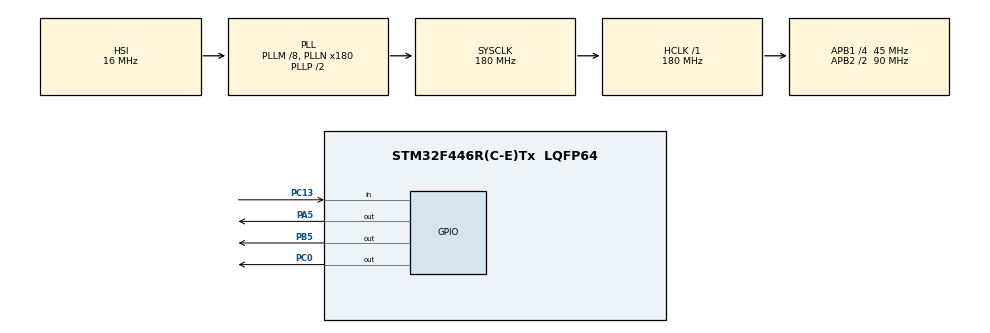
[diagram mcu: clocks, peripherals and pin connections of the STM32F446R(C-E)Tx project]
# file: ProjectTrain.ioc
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FREERTOS.BinarySemaphores01=xSemApproach,Dynamic,NULL,Available;xSemDepart,Dynamic,NULL,Available
FREERTOS.Tasks01=Gatecontrol,24,128,gatecontrol,Default,NULL,Dynamic,NULL,NULL;TrainDetect,40,128,Traindetect,Default,NULL,Dynamic,NULL,NULL;Warninglight,8,128,warninglight,Default,NULL,Dynamic,NULL,NULL;alarmHorn,8,128,alarmhorn,Default,NULL,Dynamic,NULL,NULL
FREERTOS.configUSE_NEWLIB_REENTRANT=1
Mcu.Family=STM32F4
Mcu.Name=STM32F446R(C-E)Tx
Mcu.Package=LQFP64
NVIC.PriorityGroup=NVIC_PRIORITYGROUP_4
NVIC.TIM6_DAC_IRQn=true\:15\:0\:false\:false\:true\:false\:false\:true\:true
NVIC.TimeBase=TIM6_DAC_IRQn
NVIC.TimeBaseIP=TIM6
PA5.Signal=GPIO_Output
PB5.Signal=GPIO_Output
PC0.Signal=GPIO_Output
PC13.Signal=GPIO_Input
ProjectManager.HeapSize=0x200
ProjectManager.StackSize=0x400
ProjectManager.TargetToolchain=STM32CubeIDE
RCC.AHBFreq_Value=180000000
RCC.APB1CLKDivider=RCC_HCLK_DIV4
RCC.APB1Freq_Value=45000000
RCC.APB1TimFreq_Value=90000000
RCC.APB2CLKDivider=RCC_HCLK_DIV2
RCC.APB2Freq_Value=90000000
RCC.APB2TimFreq_Value=180000000
RCC.CortexFreq_Value=180000000
RCC.HCLKFreq_Value=180000000
RCC.PLLM=8
RCC.PLLN=180
RCC.SYSCLKFreq_VALUE=180000000
RCC.SYSCLKSource=RCC_SYSCLKSOURCE_PLLCLK
RCC.USBFreq_Value=180000000
RCC.VCOOutputFreq_Value=360000000
VP_FREERTOS_VS_CMSIS_V2.Mode=CMSIS_V2
VP_SYS_VS_tim6.Mode=TIM6
board=custom

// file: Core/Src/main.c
/* USER CODE BEGIN Header */
/**
  ******************************************************************************
  * @file           : main.c
  * @brief          : Railway Crossing Gate Controller — Complete Implementation
  ******************************************************************************
  * @attention
  *
  * Copyright (c) 2026 STMicroelectronics.
  * All rights reserved.
  *
  * This software is licensed under terms that can be found in the LICENSE file
  * in the root directory of this software component.
  * If no LICENSE file comes with this software, it is provided AS-IS.
  *
  ******************************************************************************
  */
/* USER CODE END Header */

#include "main.h"
#include "cmsis_os.h"
#include <stdio.h>

/* ── Thread handles & attributes ─────────────────────────────────────────── */

/* Definitions for Gatecontrol */
osThreadId_t GatecontrolHandle;
const osThreadAttr_t Gatecontrol_attributes = {
  .name       = "Gatecontrol",
  .stack_size = 128 * 4,
  .priority   = (osPriority_t) osPriorityNormal,
};

/* Definitions for TrainDetect */
osThreadId_t TrainDetectHandle;
const osThreadAttr_t TrainDetect_attributes = {
  .name       = "TrainDetect",
  .stack_size = 128 * 4,
  .priority   = (osPriority_t) osPriorityHigh,
};

/* Definitions for Warninglight */
osThreadId_t WarninglightHandle;
const osThreadAttr_t Warninglight_attributes = {
  .name       = "Warninglight",
  .stack_size = 128 * 4,
  .priority   = (osPriority_t) osPriorityLow,
};

/* Definitions for alarmHorn */
osThreadId_t alarmHornHandle;
const osThreadAttr_t alarmHorn_attributes = {
  .name       = "alarmHorn",
  .stack_size = 128 * 4,
  .priority   = (osPriority_t) osPriorityLow,
};

/* ── Semaphore handles & attributes ──────────────────────────────────────── */

/*
 * FIX #1 — initialCount = 0 (fail-safe boot state).
 *   Starting with initialCount = 1 lets actuator tasks run immediately at
 *   power-on before any train is detected — unsafe. With 0 every actuator
 *   task blocks right away; the crossing stays safe until the sensor fires.
 *
 * FIX #2 — maxCount = 3 (one token per actuator task).
 *   Three tasks (GateControl, WarningLight, AlarmHorn) all block on the same
 *   semaphore. TrainDetect must release it 3 times to wake all three.
 *   maxCount = 1 would only ever unblock one task per train event.
 */

/* Definitions for xSemApproach */
osSemaphoreId_t xSemApproachHandle;
const osSemaphoreAttr_t xSemApproach_attributes = {
  .name = "xSemApproach"
};

/* Definitions for xSemDepart */
osSemaphoreId_t xSemDepartHandle;
const osSemaphoreAttr_t xSemDepart_attributes = {
  .name = "xSemDepart"
};

/* USER CODE BEGIN PV */
/*
 * FIX #4 — No extern re-declarations here.
 *   xSemApproachHandle and xSemDepartHandle are already defined as globals
 *   in this translation unit. Redundant extern declarations removed.
 */
/* USER CODE END PV */

void SystemClock_Config(void);
static void MX_GPIO_Init(void);
void gatecontrol(void *argument);
void Traindetect(void *argument);
void warninglight(void *argument);
void alarmhorn(void *argument);

/* USER CODE BEGIN 0 */

/**
 * @brief  Retargets printf() to the SWV ITM Data Console (port 0).
 *         Enables printf() output visible in STM32CubeIDE during debug.
 */
int _write(int file, char *ptr, int len)
{
  for (int i = 0; i < len; i++) {
    ITM_SendChar(*ptr++);
  }
  return len;
}

/* USER CODE END 0 */

/* ── main() ─────────────────────────────────────────────────────────────── */

int main(void)
{

  /* Reset of all peripherals, Initializes the Flash interface and Systick */
  HAL_Init();

  /* Configure the system clock */
  SystemClock_Config();

  /* Initialize all configured peripherals */
  MX_GPIO_Init();

  /* Init scheduler */
  osKernelInitialize();

  /* ── Create semaphores ──────────────────────────────────────────────────
   *
   * osSemaphoreNew(maxCount, initialCount, attr)
   *
   *   maxCount    = 3  → holds one token per actuator task; TrainDetect
   *                       releases it 3× so all three tasks wake together.
   *   initialCount = 0 → semaphore starts empty → every actuator blocks
   *                       immediately (fail-safe: crossing safe at boot).
   */

  /* creation of xSemApproach */
  xSemApproachHandle = osSemaphoreNew(3, 0, &xSemApproach_attributes);

  /* creation of xSemDepart */
  xSemDepartHandle   = osSemaphoreNew(3, 0, &xSemDepart_attributes);

  /* ── Create threads ─────────────────────────────────────────────────── */

  /* creation of Gatecontrol */
  GatecontrolHandle  = osThreadNew(gatecontrol, NULL, &Gatecontrol_attributes);

  /* creation of TrainDetect */
  TrainDetectHandle  = osThreadNew(Traindetect, NULL, &TrainDetect_attributes);

  /* creation of Warninglight */
  WarninglightHandle = osThreadNew(warninglight, NULL, &Warninglight_attributes);

  /* creation of alarmHorn */
  alarmHornHandle    = osThreadNew(alarmhorn, NULL, &alarmHorn_attributes);

  /* Start scheduler — control never returns from here */
  osKernelStart();

  /* Infinite loop (unreachable) */
  while (1)
  {
  }
}

/* ── SystemClock_Config ──────────────────────────────────────────────────── */

void SystemClock_Config(void)
{
  RCC_OscInitTypeDef RCC_OscInitStruct = {0};
  RCC_ClkInitTypeDef RCC_ClkInitStruct = {0};

  /* Configure the main internal regulator output voltage */
  __HAL_RCC_PWR_CLK_ENABLE();
  __HAL_PWR_VOLTAGESCALING_CONFIG(PWR_REGULATOR_VOLTAGE_SCALE1);

  /* Initialise RCC Oscillators */
  RCC_OscInitStruct.OscillatorType      = RCC_OSCILLATORTYPE_HSI;
  RCC_OscInitStruct.HSIState            = RCC_HSI_ON;
  RCC_OscInitStruct.HSICalibrationValue = RCC_HSICALIBRATION_DEFAULT;
  RCC_OscInitStruct.PLL.PLLState        = RCC_PLL_ON;
  RCC_OscInitStruct.PLL.PLLSource       = RCC_PLLSOURCE_HSI;
  RCC_OscInitStruct.PLL.PLLM            = 8;
  RCC_OscInitStruct.PLL.PLLN            = 180;
  RCC_OscInitStruct.PLL.PLLP            = RCC_PLLP_DIV2;
  RCC_OscInitStruct.PLL.PLLQ            = 2;
  RCC_OscInitStruct.PLL.PLLR            = 2;
  if (HAL_RCC_OscConfig(&RCC_OscInitStruct) != HAL_OK)
  {
    Error_Handler();
  }

  /* Activate Over-Drive mode to reach 180 MHz */
  if (HAL_PWREx_EnableOverDrive() != HAL_OK)
  {
    Error_Handler();
  }

  /* Initialise CPU, AHB and APB bus clocks */
  RCC_ClkInitStruct.ClockType      = RCC_CLOCKTYPE_HCLK  | RCC_CLOCKTYPE_SYSCLK
                                   | RCC_CLOCKTYPE_PCLK1 | RCC_CLOCKTYPE_PCLK2;
  RCC_ClkInitStruct.SYSCLKSource   = RCC_SYSCLKSOURCE_PLLCLK;
  RCC_ClkInitStruct.AHBCLKDivider  = RCC_SYSCLK_DIV1;
  RCC_ClkInitStruct.APB1CLKDivider = RCC_HCLK_DIV4;
  RCC_ClkInitStruct.APB2CLKDivider = RCC_HCLK_DIV2;
  if (HAL_RCC_ClockConfig(&RCC_ClkInitStruct, FLASH_LATENCY_5) != HAL_OK)
  {
    Error_Handler();
  }
}

/* ── MX_GPIO_Init ────────────────────────────────────────────────────────── */

/**
  * @brief  GPIO Initialization
  *
  *   PC13 — INPUT  : Train sensor (on-board user button, active LOW)
  *   PA5  — OUTPUT : Gate barrier indicator LED (HIGH = gate closed)
  *   PB5  — OUTPUT : Warning / crossing light LED
  *   PC0  — OUTPUT : Alarm buzzer (FIX #3 — was missing in original)
  *
  * @retval None
  */
static void MX_GPIO_Init(void)
{
  GPIO_InitTypeDef GPIO_InitStruct = {0};

  /* USER CODE BEGIN MX_GPIO_Init_1 */
  /*
   * FIX #3 — PC0 (buzzer) was never initialised in the original skeleton.
   *   alarmhorn() calls HAL_GPIO_WritePin(GPIOC, GPIO_PIN_0, ...) but
   *   without GPIO init that call is a no-op and the buzzer never sounds.
   *   PC0 is now configured as push-pull output below.
   */
  /* USER CODE END MX_GPIO_Init_1 */

  /* Enable GPIO port clocks */
  __HAL_RCC_GPIOC_CLK_ENABLE();
  __HAL_RCC_GPIOA_CLK_ENABLE();
  __HAL_RCC_GPIOB_CLK_ENABLE();

  /* Set initial output levels — everything OFF at boot (fail-safe) */
  HAL_GPIO_WritePin(GPIOA, GPIO_PIN_5, GPIO_PIN_RESET);  /* Gate LED   : OFF (gate open)  */
  HAL_GPIO_WritePin(GPIOB, GPIO_PIN_5, GPIO_PIN_RESET);  /* Warning LED: OFF              */
  HAL_GPIO_WritePin(GPIOC, GPIO_PIN_0, GPIO_PIN_RESET);  /* Buzzer     : OFF (silent)     */

  /* PC13 — Train sensor input (on-board user button, active LOW) */
  GPIO_InitStruct.Pin  = GPIO_PIN_13;
  GPIO_InitStruct.Mode = GPIO_MODE_INPUT;
  GPIO_InitStruct.Pull = GPIO_NOPULL;  /* External pull-up on Nucleo board */
  HAL_GPIO_Init(GPIOC, &GPIO_InitStruct);

  /* PA5 — Gate barrier indicator LED (active HIGH = gate closed) */
  GPIO_InitStruct.Pin   = GPIO_PIN_5;
  GPIO_InitStruct.Mode  = GPIO_MODE_OUTPUT_PP;
  GPIO_InitStruct.Pull  = GPIO_NOPULL;
  GPIO_InitStruct.Speed = GPIO_SPEED_FREQ_LOW;
  HAL_GPIO_Init(GPIOA, &GPIO_InitStruct);

  /* PB5 — Warning / crossing light LED */
  GPIO_InitStruct.Pin   = GPIO_PIN_5;
  GPIO_InitStruct.Mode  = GPIO_MODE_OUTPUT_PP;
  GPIO_InitStruct.Pull  = GPIO_NOPULL;
  GPIO_InitStruct.Speed = GPIO_SPEED_FREQ_LOW;
  HAL_GPIO_Init(GPIOB, &GPIO_InitStruct);

  /* USER CODE BEGIN MX_GPIO_Init_2 */

  /* PC0 — Alarm buzzer output (FIX #3) */
  GPIO_InitStruct.Pin   = GPIO_PIN_0;
  GPIO_InitStruct.Mode  = GPIO_MODE_OUTPUT_PP;
  GPIO_InitStruct.Pull  = GPIO_NOPULL;
  GPIO_InitStruct.Speed = GPIO_SPEED_FREQ_LOW;
  HAL_GPIO_Init(GPIOC, &GPIO_InitStruct);

  /* USER CODE END MX_GPIO_Init_2 */
}

/* ── Task implementations ────────────────────────────────────────────────── */

/* USER CODE BEGIN Header_gatecontrol */
/**
  * @brief  GateControl task — controls the gate barrier (PA5).
  *
  *  Flow:
  *    1. Block on xSemApproach  (released by TrainDetect × 3 on approach)
  *    2. Drive PA5 HIGH         → gate CLOSES
  *    3. Block on xSemDepart    (released by TrainDetect × 3 on departure)
  *    4. Drive PA5 LOW          → gate OPENS
  *    5. Repeat forever
  *
  * @param  argument  Not used
  * @retval None
  */
/* USER CODE END Header_gatecontrol */
void gatecontrol(void *argument)
{
  /* USER CODE BEGIN 5 */
  for (;;)
  {
    /* ── Wait for train approaching ─────────────────────────────────────── */
    osSemaphoreAcquire(xSemApproachHandle, osWaitForever);

    /* Close the gate barrier */
    HAL_GPIO_WritePin(GPIOA, GPIO_PIN_5, GPIO_PIN_SET);
    printf("[GateControl] CLOSING gate barrier\n");
    osDelay(100);  /* Brief settle delay */

    /* ── Wait for train departed ────────────────────────────────────────── */
    osSemaphoreAcquire(xSemDepartHandle, osWaitForever);

    /* Open the gate barrier */
    HAL_GPIO_WritePin(GPIOA, GPIO_PIN_5, GPIO_PIN_RESET);
    printf("[GateControl] RAISING gate barrier\n");
  }
  /* USER CODE END 5 */
}

/* USER CODE BEGIN Header_Traindetect */
/**
  * @brief  TrainDetect task — highest-priority sensor polling task.
  *
  *  Polls PC13 (IR sensor, simulated by on-board user button) every 50 ms.
  *  Uses edge detection via trainPresent flag to fire only once per event.
  *
  *  Rising edge  (button pressed  = train approaching):
  *    → Release xSemApproach THREE times so GateControl, WarningLight,
  *      and AlarmHorn all unblock simultaneously.
  *      (FIX #2: single release only woke one task; all three need a token)
  *
  *  Falling edge (button released = train departed):
  *    → Release xSemDepart THREE times for the same reason.
  *
  * @param  argument  Not used
  * @retval None
  */
/* USER CODE END Header_Traindetect */
void Traindetect(void *argument)
{
  /* USER CODE BEGIN Traindetect */
  uint8_t trainPresent = 0;  /* Edge-detection flag: 0=no train, 1=train */

  for (;;)
  {
    /*
     * PC13 is active LOW:
     *   GPIO_PIN_RESET (0) = button pressed  = train detected
     *   GPIO_PIN_SET   (1) = button released = no train
     */
    uint8_t sensor = (HAL_GPIO_ReadPin(GPIOC, GPIO_PIN_13) == GPIO_PIN_RESET);

    if (sensor && !trainPresent)
    {
      /* ── Rising edge: train just appeared ──────────────────────────── */
      trainPresent = 1;
      printf("[TrainDetect] Train APPROACHING — signalling all actuators\n");

      /*
       * FIX #2 — Release xSemApproach 3 times.
       * Each actuator task consumes exactly one token when it unblocks.
       * One release would only wake a single task; the other two would
       * remain blocked forever.
       */
      osSemaphoreRelease(xSemApproachHandle);  /* Token for GateControl  */
      osSemaphoreRelease(xSemApproachHandle);  /* Token for WarningLight */
      osSemaphoreRelease(xSemApproachHandle);  /* Token for AlarmHorn    */
    }
    else if (!sensor && trainPresent)
    {
      /* ── Falling edge: train has cleared the crossing ──────────────── */
      trainPresent = 0;
      printf("[TrainDetect] Train DEPARTED — signalling all actuators\n");

      /* Release xSemDepart 3 times — same reasoning as above */
      osSemaphoreRelease(xSemDepartHandle);    /* Token for GateControl  */
      osSemaphoreRelease(xSemDepartHandle);    /* Token for WarningLight */
      osSemaphoreRelease(xSemDepartHandle);    /* Token for AlarmHorn    */
    }

    /* Poll every 50 ms — provides debounce and yields CPU to other tasks */
    osDelay(50);
  }
  /* USER CODE END Traindetect */
}

/* USER CODE BEGIN Header_warninglight */
/**
  * @brief  WarningLight task — flashes the crossing warning LED (PB5).
  *
  *  Flow:
  *    1. Block on xSemApproach
  *    2. Flash PB5 every 500 ms by using a timed semaphore acquire:
  *         - Try xSemDepart with 500 ms timeout
  *         - osErrorTimeout → toggle LED, try again
  *         - osOK           → train departed; exit flash loop
  *    3. Extinguish PB5
  *    4. Repeat forever
  *
  *  This eliminates the need for a separate software timer task — the
  *  500 ms acquire timeout doubles as the LED toggle interval.
  *
  * @param  argument  Not used
  * @retval None
  */
/* USER CODE END Header_warninglight */
void warninglight(void *argument)
{
  /* USER CODE BEGIN warninglight */
  for (;;)
  {
    /* ── Wait for train approaching ─────────────────────────────────────── */
    osSemaphoreAcquire(xSemApproachHandle, osWaitForever);

    printf("[WarningLight] RED lights FLASHING\n");

    /*
     * Flash loop — toggle PB5 every 500 ms until the depart token arrives.
     * osSemaphoreAcquire returns:
     *   osOK           → token received → train gone → exit loop
     *   osErrorTimeout → no token yet   → toggle LED → loop again
     */
    while (osSemaphoreAcquire(xSemDepartHandle, 500) != osOK)
    {
      HAL_GPIO_TogglePin(GPIOB, GPIO_PIN_5);
    }

    /* Train departed — turn warning lights off */
    HAL_GPIO_WritePin(GPIOB, GPIO_PIN_5, GPIO_PIN_RESET);
    printf("[WarningLight] Lights OFF — crossing clear\n");
  }
  /* USER CODE END warninglight */
}

/* USER CODE BEGIN Header_alarmhorn */
/**
  * @brief  AlarmHorn task — drives the alarm buzzer (PC0).
  *
  *  Flow:
  *    1. Block on xSemApproach
  *    2. Drive PC0 HIGH  → buzzer ON
  *    3. Block on xSemDepart (no timeout — buzzer must sound for the
  *       entire danger window regardless of duration)
  *    4. Drive PC0 LOW   → buzzer OFF
  *    5. Repeat forever
  *
  *  Note: PC0 requires GPIO initialisation (FIX #3) — without it,
  *        HAL_GPIO_WritePin is a no-op and the buzzer never activates.
  *
  * @param  argument  Not used
  * @retval None
  */
/* USER CODE END Header_alarmhorn */
void alarmhorn(void *argument)
{
  /* USER CODE BEGIN alarmhorn */
  for (;;)
  {
    /* ── Wait for train approaching ─────────────────────────────────────── */
    osSemaphoreAcquire(xSemApproachHandle, osWaitForever);

    /* Activate buzzer */
    HAL_GPIO_WritePin(GPIOC, GPIO_PIN_0, GPIO_PIN_SET);
    printf("[AlarmHorn] Alarm SOUNDING\n");

    /* ── Wait for train departed ────────────────────────────────────────── */
    osSemaphoreAcquire(xSemDepartHandle, osWaitForever);

    /* Silence buzzer */
    HAL_GPIO_WritePin(GPIOC, GPIO_PIN_0, GPIO_PIN_RESET);
    printf("[AlarmHorn] Alarm SILENCED\n");
  }
  /* USER CODE END alarmhorn */
}

/* ── HAL callbacks & error handler ──────────────────────────────────────── */

void HAL_TIM_PeriodElapsedCallback(TIM_HandleTypeDef *htim)
{
  if (htim->Instance == TIM6)
  {
    HAL_IncTick();
  }
}

/**
  * @brief  Error handler — disables interrupts and halts the system.
  *         In a production safety system this would trigger a watchdog
  *         reset and drive all outputs to the safe (gate closed) state.
  * @retval None
  */
void Error_Handler(void)
{
  __disable_irq();
  while (1)
  {
  }
}

#ifdef USE_FULL_ASSERT
/**
  * @brief  Reports the source file and line number of a failed assert_param.
  * @param  file  Pointer to the source file name
  * @param  line  assert_param error line source number
  * @retval None
  */
void assert_failed(uint8_t *file, uint32_t line)
{
  /* USER CODE BEGIN 6 */
  printf("Assert failed: file %s, line %lu\r\n", file, (unsigned long)line);
  /* USER CODE END 6 */
}
#endif /* USE_FULL_ASSERT */
